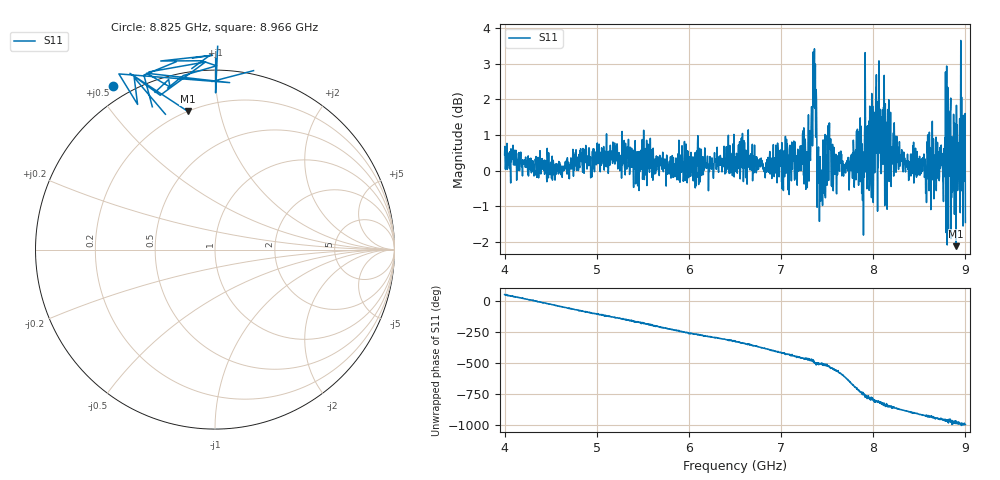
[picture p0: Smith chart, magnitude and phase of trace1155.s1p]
! Created with skrf 1.8.0 (http://scikit-rf.org).
# Hz S RI R 50.0
!freq ReS11 ImS11
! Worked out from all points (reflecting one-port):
!   1601 points, 4 GHz to 9 GHz, reference 50 ohm
!   lowest |S11| = -2.1 dB at 8.9 GHz (marker M1), VSWR 8.26, Z = 10.1 + j40.2 ohm
!   phase of S11 starts at 52 deg and turns -1047 deg over the sweep
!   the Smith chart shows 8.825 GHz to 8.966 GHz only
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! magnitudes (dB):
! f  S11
! 4 GHz  0.4
! 4.625 GHz  -0.2
! 5.25 GHz  0.0
! 5.875 GHz  0.2
! 6.5 GHz  0.4
! 7.125 GHz  0.4
! 7.294 GHz  1.0
! 7.359 GHz  2.8
! 7.412 GHz  0.2
! 7.425 GHz  0.4
! 7.516 GHz  -0.3
! 7.591 GHz  0.3
! 7.75 GHz  0.1
! 7.844 GHz  0.1
! 7.878 GHz  0.3
! 7.928 GHz  1.2
! 7.956 GHz  -0.6
! 7.997 GHz  1.5
! 8.009 GHz  0.2
! 8.022 GHz  0.5
! 8.162 GHz  0.9
! 8.375 GHz  0.2
! 8.766 GHz  0.6
! 8.816 GHz  -1.7
! 8.869 GHz  -0.6
! 8.9 GHz  -2.1
! 8.972 GHz  0.6
! 9 GHz  -1.5
